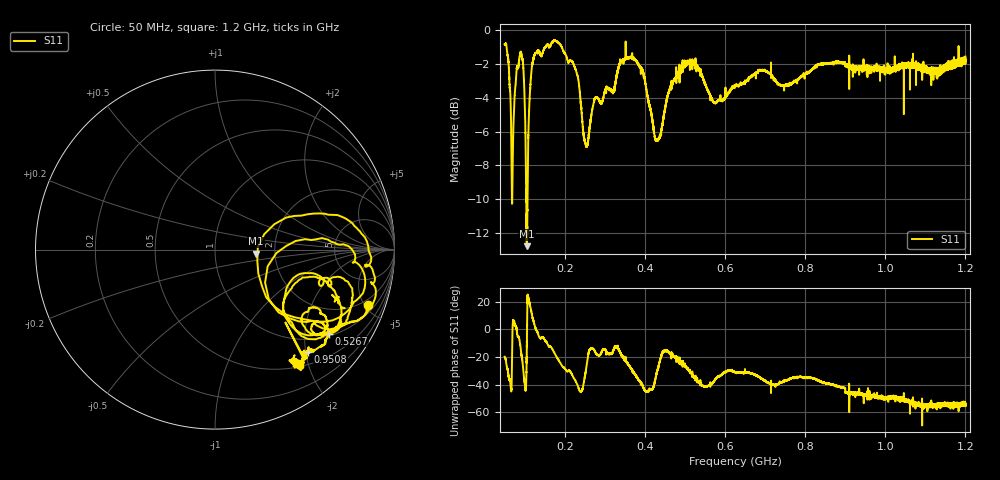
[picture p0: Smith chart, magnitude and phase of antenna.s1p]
! Calibrated NanoVNA antenna measurement, band-limited to the calibrated dynamic range
! Samples with nonfinite or |Gamma| >= 1 were excluded; see broadband-excluded.json
# Hz S RI R 50
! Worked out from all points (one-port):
!   40000 points, 50 MHz to 1.2 GHz, reference 50 ohm
!   lowest |S11| = -12.8 dB at 105.8 MHz (marker M1), VSWR 1.60, Z = 79.5 - j3.75 ohm
!   |S11| at or under -10 dB: 68.26 MHz to 69.02 MHz (760.4 kHz wide, 1.11 % of centre); 104 MHz to 107.1 MHz (3.1 MHz wide, 2.94 % of centre)
!   S11 on the Smith chart (normalised r, x): 50 MHz: 1.51, -5.31; 526.7 MHz: 1.07, -2.66; 950.8 MHz: 0.74, -2.05; 1.2 GHz: 0.40, -1.83
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5e7  0.8548 -0.3079
6.112625e7  0.603 -0.4414
6.745125e7  0.2884 -0.2473
7.521375e7  0.6428 0.0439
9.071e7  0.8318 -0.2269
9.8645e7  0.564 -0.399
1.058325e8  0.2285 -0.0223
1.127612e8  0.6094 0.1992
1.274525e8  0.8556 0.00989
1.721875e8  0.8947 -0.2548
1.9375e8  0.7918 -0.3963
2.331662e8  0.5444 -0.4766
2.4826e8  0.3818 -0.2918
2.642162e8  0.5214 -0.1305
3.375e8  0.7642 -0.222
3.950575e8  0.5682 -0.4976
4.231175e8  0.379 -0.3211
4.4629e8  0.5286 -0.1527
4.8125e8  0.6864 -0.2734
5.267038e8  0.6357 -0.4685
5.675e8  0.4822 -0.3958
6.25e8  0.5883 -0.3524
7.11595e8  0.5777 -0.469
7.6875e8  0.573 -0.4004
9.125e8  0.5413 -0.5544
9.507662e8  0.5178 -0.5678
1.05625e9  0.4844 -0.62
1.2e9  0.4734 -0.6881
